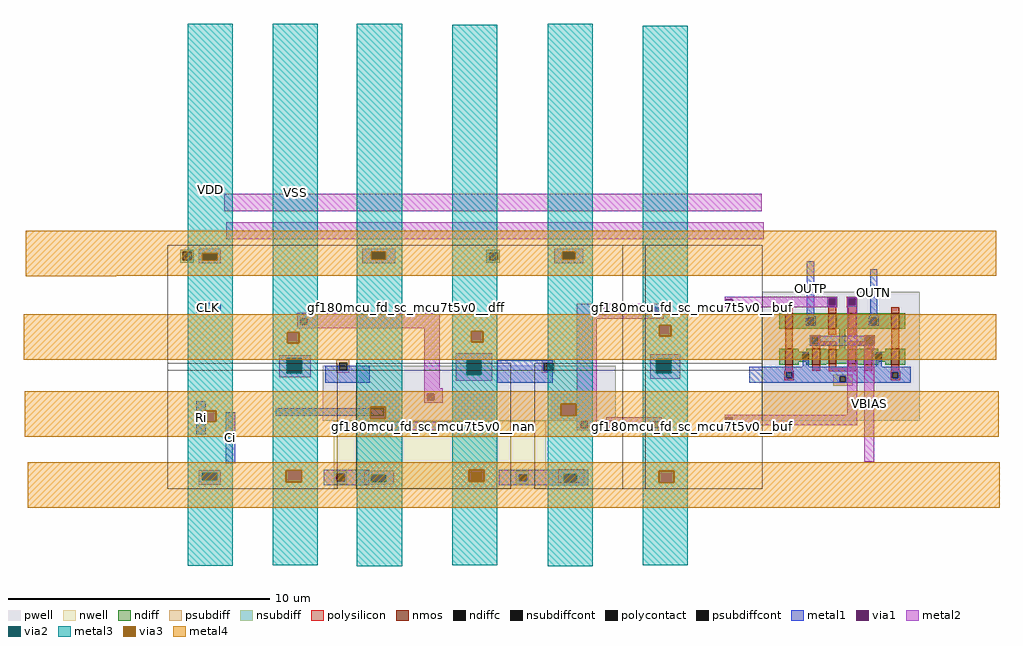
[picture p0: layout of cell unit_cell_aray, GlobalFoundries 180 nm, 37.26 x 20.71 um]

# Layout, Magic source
magic
tech gf180mcuD
magscale 1 10
<< nwell >>
rect 2999 1486 3100 1542
rect 1254 -265 2878 253
<< pwell >>
rect 4528 1077 5667 1239
rect 1170 253 3408 674
rect 4523 547 5667 1077
rect 4523 253 5730 547
<< psubdiff >>
rect 1275 698 1375 719
rect 1275 639 1295 698
rect 1359 639 1375 698
rect 1275 619 1375 639
rect 2844 694 2944 718
rect 2844 636 2859 694
rect 2930 636 2944 694
rect 2844 618 2944 636
<< nsubdiff >>
rect 84 1545 184 1559
rect 84 1479 102 1545
rect 171 1479 184 1545
rect 84 1459 184 1479
rect 2421 1536 2521 1559
rect 2421 1479 2447 1536
rect 2508 1479 2521 1536
rect 2421 1459 2521 1479
rect 1253 -151 1353 -131
rect 1253 -210 1274 -151
rect 1337 -210 1353 -151
rect 1253 -231 1353 -210
rect 2645 -160 2745 -127
rect 2645 -206 2673 -160
rect 2727 -206 2745 -160
rect 2645 -227 2745 -206
<< psubdiffcont >>
rect 1295 639 1359 698
rect 2859 636 2930 694
<< nsubdiffcont >>
rect 102 1479 171 1545
rect 2447 1479 2508 1536
rect 1274 -210 1337 -151
rect 2673 -206 2727 -160
<< metal1 >>
rect 204 1079 392 1155
rect 4868 1053 4924 1472
rect 5350 1053 5406 1411
rect 4858 977 4934 1053
rect 5340 977 5416 1053
rect 4891 893 5383 903
rect 4891 837 5318 893
rect 5374 837 5383 893
rect 4891 827 5383 837
rect 1191 639 1295 675
rect 1359 639 1530 675
rect 1191 545 1530 639
rect 2502 694 2928 714
rect 2502 636 2859 694
rect 2502 545 2928 636
rect 4426 545 4771 665
rect 206 149 278 402
rect 430 -73 502 319
rect 811 293 1638 350
rect 1638 181 2320 245
rect 1179 -151 1524 -119
rect 1179 -210 1274 -151
rect 1337 -210 1524 -151
rect 2514 -155 3198 -119
rect 1179 -239 1524 -210
rect 2514 -160 3010 -155
rect 2514 -206 2673 -160
rect 2727 -206 3010 -160
rect 2514 -211 3010 -206
rect 3111 -211 3198 -155
rect 2514 -239 3198 -211
<< via1 >>
rect 252 1478 364 1534
rect 1540 1486 1652 1542
rect 2999 1486 3100 1542
rect 4249 1130 4301 1182
rect 3291 1063 3343 1115
rect 3697 1063 3749 1115
rect 5033 1134 5089 1190
rect 5185 1134 5241 1190
rect 1000 985 1052 1037
rect 5318 837 5374 893
rect 896 615 1009 729
rect 2269 604 2380 716
rect 3719 616 3831 727
rect 1969 409 2021 461
rect 3141 196 3193 248
rect 3353 199 3405 251
rect 3695 199 3747 251
rect 4247 230 4299 282
rect 252 -201 364 -145
rect 1541 -214 1653 -158
rect 3010 -211 3111 -155
<< metal2 >>
rect 417 1854 4522 1986
rect 433 1638 4538 1770
rect 223 1534 392 1568
rect 223 1478 252 1534
rect 364 1478 392 1534
rect 223 1456 392 1478
rect 1472 1542 1726 1567
rect 1472 1486 1540 1542
rect 1652 1486 1726 1542
rect 1472 1456 1726 1486
rect 2937 1542 3161 1567
rect 2937 1486 2999 1542
rect 3100 1486 3161 1542
rect 2937 1456 3161 1486
rect 4240 1190 5099 1199
rect 4240 1182 5033 1190
rect 3112 1115 3776 1146
rect 4240 1130 4249 1182
rect 4301 1134 5033 1182
rect 5089 1134 5099 1190
rect 4301 1130 5099 1134
rect 4240 1119 5099 1130
rect 5175 1190 5251 1199
rect 5175 1134 5185 1190
rect 5241 1134 5251 1190
rect 975 1037 2064 1079
rect 975 985 1000 1037
rect 1052 985 2064 1037
rect 975 959 2064 985
rect 840 729 1079 754
rect 840 615 896 729
rect 1009 615 1079 729
rect 840 586 1079 615
rect 1944 500 2064 959
rect 3112 1063 3291 1115
rect 3343 1063 3697 1115
rect 3749 1063 3776 1115
rect 3112 1034 3776 1063
rect 2185 716 2465 767
rect 2185 604 2269 716
rect 2380 604 2465 716
rect 2185 560 2465 604
rect 1944 461 2088 500
rect 1944 409 1969 461
rect 2021 409 2088 461
rect 1944 392 2088 409
rect 3112 248 3262 1034
rect 3673 727 3902 763
rect 3673 616 3719 727
rect 3831 616 3902 727
rect 3673 575 3902 616
rect 5175 298 5251 1134
rect 4240 282 5251 298
rect 3112 196 3141 248
rect 3193 196 3262 248
rect 3112 181 3262 196
rect 3335 251 3760 280
rect 3335 199 3353 251
rect 3405 199 3695 251
rect 3747 199 3760 251
rect 4240 230 4247 282
rect 4299 230 5251 282
rect 4240 218 5251 230
rect 5307 893 5383 903
rect 5307 837 5318 893
rect 5374 837 5383 893
rect 3335 175 3760 199
rect 5307 -59 5383 837
rect 224 -145 393 -123
rect 224 -201 252 -145
rect 364 -201 393 -145
rect 224 -235 393 -201
rect 1487 -158 1712 -129
rect 1487 -214 1541 -158
rect 1653 -214 1712 -158
rect 1487 -233 1712 -214
rect 2968 -155 3168 -118
rect 2968 -211 3010 -155
rect 3111 -211 3168 -155
rect 2968 -224 3168 -211
<< via2 >>
rect 252 1478 364 1534
rect 1540 1486 1652 1542
rect 2999 1486 3100 1542
rect 896 615 1009 729
rect 2269 604 2380 716
rect 3719 616 3831 727
rect 252 -201 364 -145
rect 1541 -214 1653 -158
rect 3010 -211 3111 -155
<< metal3 >>
rect 140 1534 484 3283
rect 140 1478 252 1534
rect 364 1478 484 1534
rect 140 329 484 1478
rect 140 246 265 329
rect 357 246 484 329
rect 140 -145 484 246
rect 140 -201 252 -145
rect 364 -201 484 -145
rect 140 -852 484 -201
rect 789 929 1133 3283
rect 789 846 901 929
rect 993 846 1133 929
rect 789 729 1133 846
rect 789 615 896 729
rect 1009 615 1133 729
rect 789 -126 1133 615
rect 789 -218 890 -126
rect 1009 -218 1133 -126
rect 789 -850 1133 -218
rect 1432 1542 1776 3283
rect 1432 1486 1540 1542
rect 1652 1486 1776 1542
rect 1432 360 1776 1486
rect 1432 268 1533 360
rect 1652 268 1776 360
rect 1432 -158 1776 268
rect 1432 -214 1541 -158
rect 1653 -214 1776 -158
rect 1432 -857 1776 -214
rect 2159 936 2503 3277
rect 2159 853 2303 936
rect 2395 853 2503 936
rect 2159 716 2503 853
rect 2159 604 2269 716
rect 2380 604 2503 716
rect 2159 -120 2503 604
rect 2159 -212 2286 -120
rect 2405 -212 2503 -120
rect 2159 -850 2503 -212
rect 2889 1542 3233 3284
rect 2889 1486 2999 1542
rect 3100 1486 3233 1542
rect 2889 383 3233 1486
rect 2889 291 2987 383
rect 3106 291 3233 383
rect 2889 -155 3233 291
rect 2889 -211 3010 -155
rect 3111 -211 3233 -155
rect 2889 -856 3233 -211
rect 3614 981 3958 3269
rect 3614 898 3741 981
rect 3833 898 3958 981
rect 3614 727 3958 898
rect 3614 616 3719 727
rect 3831 616 3958 727
rect 3614 -129 3958 616
rect 3614 -221 3737 -129
rect 3856 -221 3958 -129
rect 3614 -850 3958 -221
<< via3 >>
rect 252 1478 364 1534
rect 265 246 357 329
rect 901 846 993 929
rect 890 -218 1009 -126
rect 1540 1486 1652 1542
rect 1533 268 1652 360
rect 2303 853 2395 936
rect 2286 -212 2405 -120
rect 2999 1486 3100 1542
rect 2987 291 3106 383
rect 3741 898 3833 981
rect 3737 -221 3856 -129
<< metal4 >>
rect -1095 1542 6313 1705
rect -1095 1534 1540 1542
rect -1095 1478 252 1534
rect 364 1486 1540 1534
rect 1652 1486 2999 1542
rect 3100 1486 6313 1542
rect 364 1478 6313 1486
rect -1095 1359 6313 1478
rect -1095 1358 -406 1359
rect -1114 981 6313 1065
rect -1114 936 3741 981
rect -1114 929 2303 936
rect -1114 846 901 929
rect 993 853 2303 929
rect 2395 898 3741 936
rect 3833 898 6313 981
rect 2395 853 6313 898
rect 993 846 6313 853
rect -1114 719 6313 846
rect -1114 718 -425 719
rect -1103 383 6332 478
rect -1103 360 2987 383
rect -1103 329 1533 360
rect -1103 246 265 329
rect 357 268 1533 329
rect 1652 291 2987 360
rect 3106 291 6332 383
rect 1652 268 6332 291
rect 357 246 6332 268
rect -1103 132 6332 246
rect -1103 131 -414 132
rect -1083 -63 -394 -62
rect -1083 -120 6338 -63
rect -1083 -126 2286 -120
rect -1083 -218 890 -126
rect 1009 -212 2286 -126
rect 2405 -129 6338 -120
rect 2405 -212 3737 -129
rect 1009 -218 3737 -212
rect -1083 -221 3737 -218
rect 3856 -221 6338 -129
rect -1083 -409 6338 -221
use CS_Switch_16x2  CS_Switch_16x2_0
transform 1 0 4905 0 1 -145
box -377 631 825 1384
use gf180mcu_fd_sc_mcu7t5v0__buf_2  gf180mcu_fd_sc_mcu7t5v0__buf_2_1 ~/eda/unic-cass/envs/gf180mcu-env/share/pdk/gf180mcuD/libs.ref/gf180mcu_fd_sc_mcu7t5v0/mag
transform 1 0 3546 0 1 725
box -86 -86 982 870
use gf180mcu_fd_sc_mcu7t5v0__buf_2  gf180mcu_fd_sc_mcu7t5v0__buf_2_2
transform 1 0 3546 0 -1 605
box -86 -86 982 870
use gf180mcu_fd_sc_mcu7t5v0__dffq_2  gf180mcu_fd_sc_mcu7t5v0__dffq_2_0 ~/eda/unic-cass/envs/gf180mcu-env/share/pdk/gf180mcuD/libs.ref/gf180mcu_fd_sc_mcu7t5v0/mag
transform 1 0 74 0 1 725
box -86 -86 3558 870
use gf180mcu_fd_sc_mcu7t5v0__inv_2  gf180mcu_fd_sc_mcu7t5v0__inv_2_0 ~/eda/unic-cass/envs/gf180mcu-env/share/pdk/gf180mcuD/libs.ref/gf180mcu_fd_sc_mcu7t5v0/mag
transform 1 0 2874 0 -1 605
box -86 -86 758 870
use gf180mcu_fd_sc_mcu7t5v0__nand2_2  gf180mcu_fd_sc_mcu7t5v0__nand2_2_0 ~/eda/unic-cass/envs/gf180mcu-env/share/pdk/gf180mcuD/libs.ref/gf180mcu_fd_sc_mcu7t5v0/mag
transform 1 0 1514 0 -1 605
box -86 -86 1094 870
use gf180mcu_fd_sc_mcu7t5v0__or2_2  gf180mcu_fd_sc_mcu7t5v0__or2_2_0 ~/eda/unic-cass/envs/gf180mcu-env/share/pdk/gf180mcuD/libs.ref/gf180mcu_fd_sc_mcu7t5v0/mag
transform 1 0 74 0 -1 605
box -86 -86 1206 870
<< labels >>
flabel metal3 827 1749 1093 2241 1 FreeSans 800 0 0 0 VSS
port 9 n
flabel metal3 177 1774 443 2266 1 FreeSans 800 0 0 0 VDD
port 8 n
flabel metal1 204 1079 392 1155 1 FreeSans 400 0 0 0 CLK
port 4 n
flabel metal1 1638 181 2320 245 1 FreeSans 400 0 0 0 Ri-1
port 3 n
flabel metal1 430 -73 502 319 1 FreeSans 400 0 0 0 Ci
port 2 n
flabel metal1 206 149 278 402 1 FreeSans 400 0 0 0 Ri
port 1 n
flabel metal1 4872 1055 4922 1470 1 FreeSans 400 0 0 0 OUTP
port 5 n
flabel metal1 5353 1061 5402 1406 1 FreeSans 400 0 0 0 OUTN
port 6 n
flabel metal2 5321 -53 5371 820 1 FreeSans 400 0 0 0 VBIAS
port 7 n
<< end >>

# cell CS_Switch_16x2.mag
magic
tech gf180mcuD
magscale 1 10
<< pwell >>
rect -377 631 825 1384
<< nmos >>
rect -204 1100 -144 1220
rect 126 1100 186 1220
rect 278 1100 338 1220
rect 608 1100 668 1220
rect -204 826 -144 950
rect 4 826 64 950
rect 130 832 186 944
rect 278 832 334 944
rect 400 826 460 950
rect 608 826 668 950
<< ndiff >>
rect -250 1100 -204 1220
rect -144 1183 126 1220
rect -144 1137 -32 1183
rect 14 1137 126 1183
rect -144 1100 126 1137
rect 186 1100 278 1220
rect 338 1183 608 1220
rect 338 1137 450 1183
rect 496 1137 608 1183
rect 338 1100 608 1137
rect 668 1100 714 1220
rect -250 826 -204 950
rect -144 924 -98 950
rect -42 924 4 950
rect -144 910 4 924
rect -144 864 -71 910
rect -25 864 4 910
rect -144 848 4 864
rect -144 826 -98 848
rect -42 826 4 848
rect 64 944 110 950
rect 210 944 254 1100
rect 354 944 400 950
rect 64 832 130 944
rect 186 832 278 944
rect 334 832 400 944
rect 64 826 110 832
rect 354 826 400 832
rect 460 924 506 950
rect 562 924 608 950
rect 460 910 608 924
rect 460 864 489 910
rect 535 864 608 910
rect 460 848 608 864
rect 460 826 506 848
rect 562 826 608 848
rect 668 826 714 950
<< ndiffc >>
rect -32 1137 14 1183
rect 450 1137 496 1183
rect -71 864 -25 910
rect 489 864 535 910
<< psubdiff >>
rect 162 738 312 751
rect 162 692 214 738
rect 260 692 312 738
rect 162 667 312 692
<< psubdiffcont >>
rect 214 692 260 738
<< polysilicon >>
rect 116 1329 196 1346
rect 116 1283 133 1329
rect 179 1283 196 1329
rect 116 1266 196 1283
rect 268 1329 348 1346
rect 268 1283 285 1329
rect 331 1283 348 1329
rect 268 1266 348 1283
rect -204 1220 -144 1266
rect 126 1220 186 1266
rect 278 1220 338 1266
rect 608 1220 668 1266
rect -204 950 -144 1100
rect 126 1054 186 1100
rect -16 1033 64 1050
rect -16 987 1 1033
rect 47 1006 64 1033
rect 47 987 186 1006
rect -16 970 186 987
rect 4 950 64 970
rect 130 944 186 970
rect 278 1054 338 1100
rect 400 1033 480 1050
rect 400 1006 417 1033
rect 278 987 417 1006
rect 463 987 480 1033
rect 278 970 480 987
rect 278 944 334 970
rect 400 950 460 970
rect 608 950 668 1100
rect -204 780 -144 826
rect 4 780 64 826
rect 130 812 186 832
rect 278 812 334 832
rect -210 767 -138 780
rect 130 776 334 812
rect 400 780 460 826
rect 608 780 668 826
rect -210 721 -197 767
rect -151 721 -138 767
rect 602 767 674 780
rect -210 708 -138 721
rect 602 721 615 767
rect 661 721 674 767
rect 602 708 674 721
<< polycontact >>
rect 133 1283 179 1329
rect 285 1283 331 1329
rect 1 987 47 1033
rect 417 987 463 1033
rect -197 721 -151 767
rect 615 721 661 767
<< metal1 >>
rect 118 1329 194 1344
rect 118 1283 133 1329
rect 179 1283 194 1329
rect 118 1268 194 1283
rect 270 1329 346 1344
rect 270 1283 285 1329
rect 331 1283 346 1329
rect 270 1268 346 1283
rect -47 1183 29 1198
rect -47 1137 -32 1183
rect 14 1137 29 1183
rect -47 1122 29 1137
rect 435 1183 511 1198
rect 435 1137 450 1183
rect 496 1137 511 1183
rect 435 1122 511 1137
rect -14 1033 62 1048
rect -14 987 1 1033
rect 47 987 62 1033
rect -14 972 62 987
rect 402 1033 478 1048
rect 402 987 417 1033
rect 463 987 478 1033
rect 402 972 478 987
rect -71 910 -25 921
rect -71 810 -25 864
rect 489 910 535 921
rect 489 810 535 864
rect -307 767 756 810
rect -307 721 -197 767
rect -151 738 615 767
rect -151 721 214 738
rect -307 692 214 721
rect 260 721 615 738
rect 661 721 756 767
rect 260 692 756 721
rect -307 690 756 692
<< labels >>
flabel metal1 118 1268 194 1344 1 FreeSans 400 0 0 0 INP
port 1 n
flabel metal1 270 1268 346 1344 1 FreeSans 400 0 0 0 INN
port 2 n
flabel metal1 -47 1122 29 1198 1 FreeSans 400 0 0 0 OUTP
port 3 n
flabel metal1 435 1122 511 1198 1 FreeSans 400 0 0 0 OUTN
port 4 n
flabel metal1 -14 972 62 1048 1 FreeSans 400 0 0 0 VBIAS
port 5 n
flabel metal1 402 972 478 1048 1 FreeSans 400 0 0 0 VBIAS
port 6 n
flabel metal1 -151 690 615 810 1 FreeSans 400 0 0 0 VSS
port 7 n
rlabel pwell 615 690 756 811 1 VSS
port 7 n
rlabel pwell 489 810 535 921 1 VSS
port 7 n
rlabel pwell -71 810 -25 921 1 VSS
port 7 n
rlabel pwell -307 690 -151 810 1 VSS
port 7 n
<< end >>
